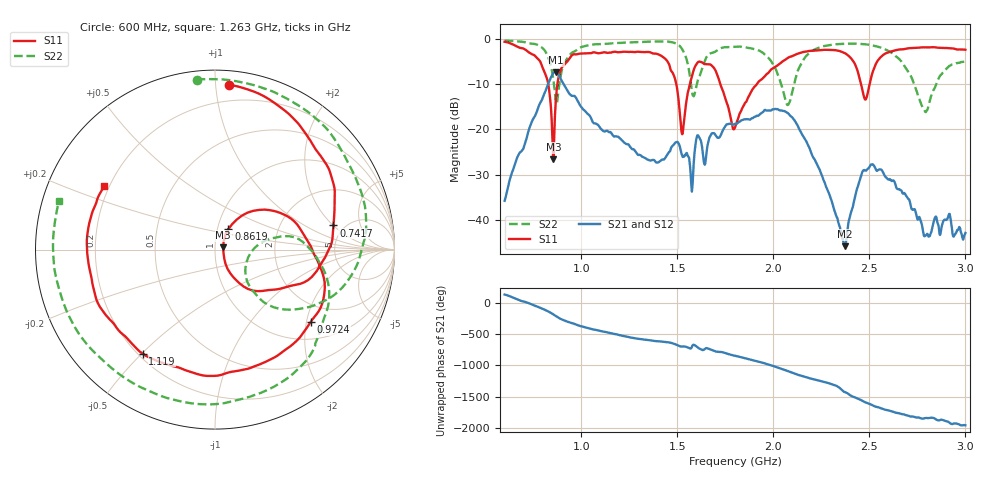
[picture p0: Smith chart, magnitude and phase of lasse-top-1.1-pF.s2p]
#  HZ  S  RI  R  50.00
! Rohde & Schwarz ZVB8 2Ports - Version 2.81 - 1145.1010k08 SN: 100113
! Date: 2016-03-31 03:41:40
! Measurements: S11 S21 S12 S22
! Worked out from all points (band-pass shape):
!   1000 points, 600 MHz to 3 GHz, reference 50 ohm
!   highest |S21| = -7.43 dB at 869.1 MHz (marker M1); lowest = -45.8 dB at 2.371 GHz (marker M2)
!   |S21| within 3 dB of the highest: 822.7 MHz to 912.9 MHz (90.18 MHz wide, 10.4 % of centre)
!   lowest |S11| = -26.6 dB at 854.7 MHz (marker M3), VSWR 1.10, Z = 54.7 + j1.31 ohm
!   |S11| at or under -10 dB: 827.4 MHz to 875 MHz (47.65 MHz wide, 5.6 % of centre); 1.494 GHz to 1.565 GHz (71.26 MHz wide, 4.66 % of centre); 1.723 GHz to 1.915 GHz (191.5 MHz wide, 10.5 % of centre)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
!   |S22| runs from -16.2 to -0.4 dB; largest |S21 - S12| = 0.0019
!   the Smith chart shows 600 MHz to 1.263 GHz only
!   S11 on the Smith chart (normalised r, x): 600 MHz: 0.09, +1.09; 741.7 MHz: 4.08, +2.02; 861.9 MHz: 1.13, +0.26; 972.4 MHz: 1.45, -2.12; 1.119 GHz: 0.22, -0.50; 1.263 GHz: 0.18, +0.26
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6e8  0.0803 0.918  -0.0123 0.0106  -0.0124 0.0105  -0.1029 0.9473
7.417417e8  0.6599 0.1349  0.1138 -0.0418  0.1135 -0.0423  0.7872 0.3904
8.546547e8  0.0451 0.0119  -0.4203 0.0118  -0.4202 0.0115  0.2321 -0.2543
8.618619e8  0.0744 0.1146  -0.4065 0.1214  -0.4064 0.121  0.1797 -0.179
8.690691e8  0.1505 0.1896  -0.3648 0.2187  -0.3642 0.2184  0.1738 -0.076
9.723724e8  0.5329 -0.404  0.2143 0.057  0.214 0.0573  0.5884 -0.4475
1.001201e9  0.3883 -0.5608  0.171 -0.0384  0.1707 -0.0381  0.4777 -0.6505
1.118919e9  -0.4028 -0.5798  -0.0122 -0.094  -0.0125 -0.0939  -0.443 -0.7517
1.263063e9  -0.617 0.3554  -0.0588 0.0149  -0.0589 0.0149  -0.8681 0.2728
1.4e9  0.3142 0.5903  -0.0138 0.0408  -0.014 0.0407  -0.0724 0.9266
1.498498e9  0.2099 -0.1869  0.0481 0.0544  0.048 0.0543  0.6765 0.5474
1.527327e9  -0.0851 -0.0286  0.0452 0.0202  0.0452 0.0202  0.715 0.2173
1.58979e9  0.2073 0.4327  0.0396 0.0407  0.0395 0.0407  0.2029 0.1398
1.697898e9  0.3361 -0.2952  0.0502 -0.0707  0.0505 -0.0703  0.7026 0.1506
1.801201e9  0.0823 -0.0672  -0.067 -0.0931  -0.067 -0.0929  0.6546 -0.4814
2.022222e9  -0.2848 -0.4195  0.1159 0.1196  0.1156 0.1196  -0.3446 -0.2092
2.2e9  -0.3449 0.646  -0.0375 -0.0371  -0.0374 -0.0371  -0.6454 -0.339
2.370571e9  0.6301 0.2869  0.00502 0.00116  0.00508 0.00121  -0.3881 0.7872
2.478679e9  0.2113 0.0189  -0.0313 -0.0158  -0.0313 -0.0158  0.3635 0.7852
2.601201e9  0.6683 -0.2344  0.00682 0.0271  0.00678 0.0272  0.7182 0.0987
2.781381e9  -0.1768 -0.7805  0.00417 -0.00581  0.00417 -0.00586  0.1517 -0.0773
3e9  -0.669 0.3459  -0.00686 -0.00218  -0.00675 -0.00224  0.3057 -0.4629
